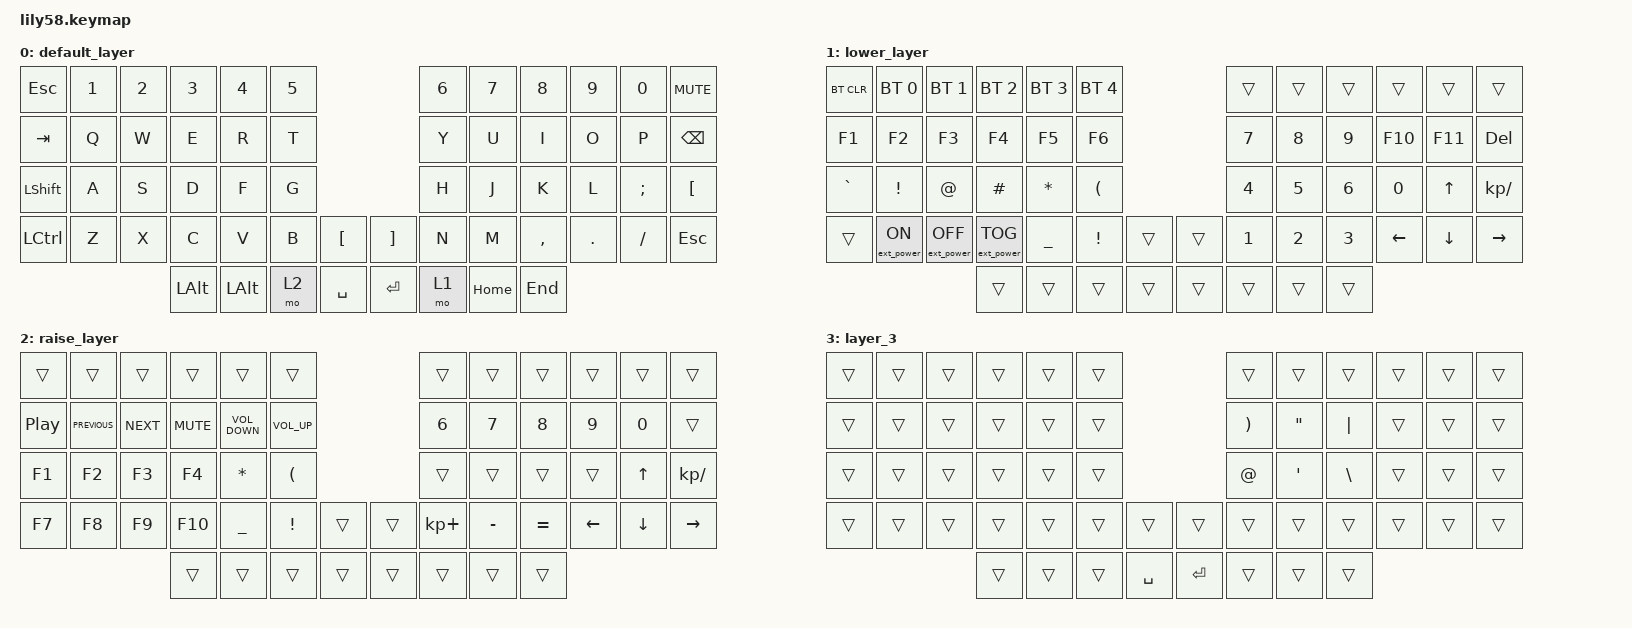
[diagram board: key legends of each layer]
#include <behaviors.dtsi>
#include <dt-bindings/zmk/bt.h>
#include <dt-bindings/zmk/ext_power.h>
#include <dt-bindings/zmk/keys.h>

/ {
    keymap {
        compatible = "zmk,keymap";
        default_layer {
            bindings = <
&kp ESC    &kp N1  &kp N2  &kp N3    &kp N4    &kp N5                         &kp N6  &kp N7    &kp N8     &kp N9   &kp N0    &kp C_MUTE
&kp TAB    &kp Q   &kp W   &kp E     &kp R     &kp T                          &kp Y   &kp U     &kp I      &kp O    &kp P     &kp BACKSPACE
&kp LSHFT  &kp A   &kp S   &kp D     &kp F     &kp G                          &kp H   &kp J     &kp K      &kp L    &kp SEMI  &kp LBKT
&kp LCTRL  &kp Z   &kp X   &kp C     &kp V     &kp B   &kp LBKT     &kp RBKT  &kp N   &kp M     &kp COMMA  &kp DOT  &kp FSLH  &kp ESC
                           &kp LALT  &kp LALT  &mo 2   &kp SPACE    &kp RET   &mo 1   &kp HOME  &kp END
            >;
        };

        lower_layer {
            bindings = <
&bt BT_CLR  &bt BT_SEL 0      &bt BT_SEL 1       &bt BT_SEL 2       &bt BT_SEL 3  &bt BT_SEL 4                            &trans        &trans  &trans        &trans    &trans        &trans
&kp F1      &kp F2            &kp F3             &kp F4             &kp F5        &kp F6                                  &kp NUMBER_7  &kp N8  &kp N9        &kp F10   &kp F11       &kp DELETE
&kp GRAVE   &kp EXCL          &kp AT             &kp HASH           &kp ASTRK     &kp LEFT_PARENTHESIS                    &kp NUMBER_4  &kp N5  &kp NUMBER_6  &kp N0    &kp UP_ARROW  &kp KP_DIVIDE
&trans      &ext_power EP_ON  &ext_power EP_OFF  &ext_power EP_TOG  &kp UNDER     &kp EXCL              &trans    &trans  &kp N1        &kp N2  &kp N3        &kp LEFT  &kp DOWN      &kp RIGHT
                                                 &trans             &trans        &trans                &trans    &trans  &trans        &trans  &trans
            >;
        };

        raise_layer {
            bindings = <
&trans            &trans          &trans      &trans      &trans             &trans                                  &trans       &trans     &trans     &trans    &trans        &trans
&kp C_PLAY_PAUSE  &kp C_PREVIOUS  &kp C_NEXT  &kp C_MUTE  &kp C_VOLUME_DOWN  &kp C_VOL_UP                            &kp N6       &kp N7     &kp N8     &kp N9    &kp N0        &trans
&kp F1            &kp F2          &kp F3      &kp F4      &kp ASTRK          &kp LEFT_PARENTHESIS                    &trans       &trans     &trans     &trans    &kp UP_ARROW  &kp KP_DIVIDE
&kp F7            &kp F8          &kp F9      &kp F10     &kp UNDER          &kp EXCL              &trans    &trans  &kp KP_PLUS  &kp MINUS  &kp EQUAL  &kp LEFT  &kp DOWN      &kp RIGHT
                                              &trans      &trans             &trans                &trans    &trans  &trans       &trans     &trans
            >;
        };

        layer_3 {
            bindings = <
&trans  &trans  &trans  &trans  &trans  &trans                       &trans  &trans  &trans  &trans  &trans  &trans
&trans  &trans  &trans  &trans  &trans  &trans                       &kp RIGHT_PARENTHESIS  &kp DOUBLE_QUOTES  &kp PIPE  &trans  &trans  &trans
&trans  &trans  &trans  &trans  &trans  &trans                       &kp AT                 &kp SINGLE_QUOTE   &kp BSLH  &trans  &trans  &trans
&trans  &trans  &trans  &trans  &trans  &trans  &trans       &trans  &trans  &trans  &trans  &trans  &trans  &trans
                        &trans  &trans  &trans  &kp SPACE    &kp ENTER  &trans  &trans  &trans
            >;
        };
    };

    conditional_layers {
        compatible = "zmk,conditional-layers";
        a3rdLayer {
            if-layers = <1 2>;
            then-layer = <3>;
        };
    };
};
